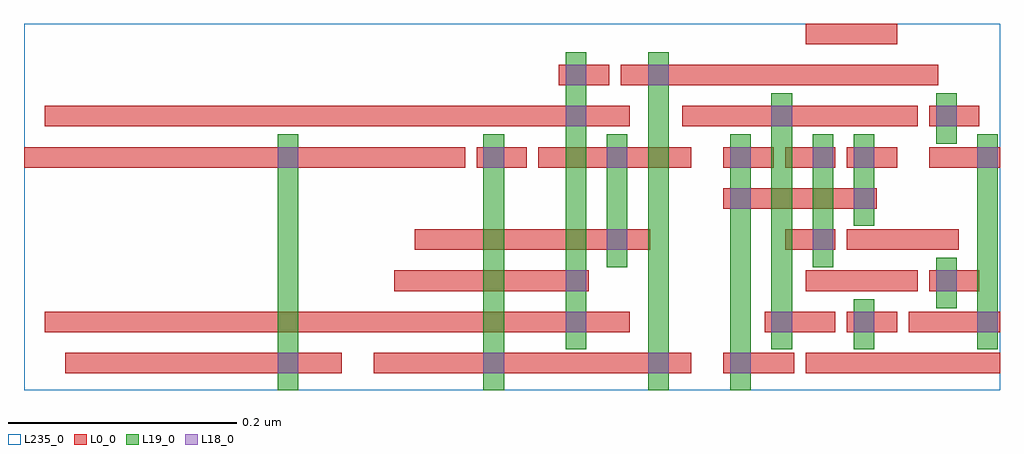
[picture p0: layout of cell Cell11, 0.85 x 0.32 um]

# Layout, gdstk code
import gdstk
lib = gdstk.Library(unit=1e-6, precision=2.5e-10)
def R(c, l, rs):  # rectangles x0, y0, x1, y1
    for r in rs: c.add(gdstk.rectangle(r[:2], r[2:], *l))
def A(c, l, x, y, w, h, nx, ny, dx, dy):  # array of equal rectangles
    R(c, l, [(x+i*dx, y+j*dy, x+i*dx+w, y+j*dy+h) for i in range(nx) for j in range(ny)])
L0_0 = (0, 0)
L18_0 = (18, 0)
L19_0 = (19, 0)
L235_0 = (235, 0)

cell11 = lib.new_cell('Cell11')
A(cell11, L0_0, 0.616, 0.179, 0.044, 0.018, 3, 1, 0.054, 0)
R(cell11, L0_0, [(0.04,-0.001,0.282,0.017), (0.31,-0.001,0.588,0.017), (0.616,-0.001,0.678,0.017), (0.688,-0.001,0.858,0.017), (0.022,0.035,0.534,0.053), (0.652,0.035,0.714,0.053), (0.724,0.035,0.768,0.053), (0.778,0.035,0.858,0.053), (0.328,0.071,0.498,0.089), (0.688,0.071,0.786,0.089), (0.796,0.071,0.84,0.089), (0.346,0.107,0.552,0.125), (0.67,0.107,0.714,0.125), (0.724,0.107,0.822,0.125), (0.616,0.143,0.75,0.161), (0.004,0.179,0.39,0.197), (0.4,0.179,0.444,0.197), (0.454,0.179,0.588,0.197), (0.796,0.179,0.858,0.197), (0.022,0.215,0.534,0.233), (0.58,0.215,0.786,0.233), (0.796,0.215,0.84,0.233), (0.472,0.251,0.516,0.269), (0.526,0.251,0.804,0.269), (0.688,0.287,0.768,0.305)])
A(cell11, L18_0, 0.406, 0.179, 0.018, 0.018, 3, 1, 0.108, 0)
R(cell11, L18_0, [(0.226,-0.001,0.244,0.017), (0.406,-0.001,0.424,0.017), (0.55,-0.001,0.568,0.017), (0.622,-0.001,0.64,0.017), (0.478,0.035,0.496,0.053), (0.658,0.035,0.676,0.053), (0.73,0.035,0.748,0.053), (0.838,0.035,0.856,0.053), (0.478,0.071,0.496,0.089), (0.802,0.071,0.82,0.089), (0.514,0.107,0.532,0.125), (0.694,0.107,0.712,0.125), (0.622,0.143,0.64,0.161), (0.73,0.143,0.748,0.161), (0.226,0.179,0.244,0.197), (0.694,0.179,0.712,0.197), (0.73,0.179,0.748,0.197), (0.838,0.179,0.856,0.197), (0.478,0.215,0.496,0.233), (0.658,0.215,0.676,0.233), (0.802,0.215,0.82,0.233), (0.478,0.251,0.496,0.269), (0.55,0.251,0.568,0.269)])
R(cell11, L19_0, [(0.226,-0.016,0.244,0.208), (0.406,-0.016,0.424,0.208), (0.55,-0.016,0.568,0.28), (0.622,-0.016,0.64,0.208), (0.478,0.02,0.496,0.28), (0.658,0.02,0.676,0.244), (0.73,0.02,0.748,0.064), (0.838,0.02,0.856,0.208), (0.802,0.056,0.82,0.1), (0.514,0.092,0.532,0.208), (0.694,0.092,0.712,0.208), (0.73,0.128,0.748,0.208), (0.802,0.2,0.82,0.244)])
R(cell11, L235_0, [(0.004,-0.016,0.858,0.305)])

lib.write_gds('Cell11.gds')
